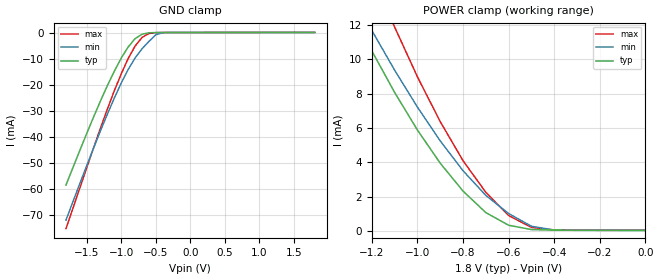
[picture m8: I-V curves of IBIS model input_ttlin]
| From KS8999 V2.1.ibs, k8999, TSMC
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|   Model input_ttlin
[Model]   input_ttlin
Model_type   Input
Polarity   Non-Inverting
Vinl =   0.8V
Vinh =   2.0V
C_comp   1.58e-12F   1.76e-12F   1.55e-12F
[Temperature Range]   25   125   0
[Voltage Range]   1.80V   1.62V   1.98V
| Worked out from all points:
|   GND clamp passes 1 mA (typ) near -0.72 V on its own axis
|   POWER clamp passes 1 mA (typ) near -0.69 V on its own axis
[POWER_clamp]
| voltage   I(typ)   I(min)   I(max)
-1.8V     28.46mA    29.17mA    37.41mA
-1.3V     13.11mA    14.15mA    18.38mA
-1.2V     10.49mA    11.69mA    15.03mA
-1.1V     8.076mA    9.373mA    11.88mA
-1V       5.885mA    7.221mA    8.986mA
-900mV    3.955mA    5.254mA    6.374mA
-800mV    2.329mA    3.516mA    4.101mA
-700mV    1.077mA    2.08mA     2.258mA
-600mV    341.5uA    1.024mA    907uA
-500mV    88.88uA    283.2uA    216.3uA
-400mV    54.59uA    63.12uA    67.23uA
0V        42.86uA    38.57uA    47.14uA
[GND_clamp]
| voltage   I(typ)   I(min)   I(max)
-1.8V     -58.67mA   -72.18mA   -75.45mA
-1.4V     -32.49mA   -44.43mA   -44.33mA
-1.2V     -20.4mA    -31.37mA   -29.43mA
-1.1V     -14.89mA   -25.22mA   -22.4mA
-1V       -9.837mA   -19.45mA   -15.91mA
-900mV    -5.602mA   -14.24mA   -10.06mA
-800mV    -2.378mA   -9.819mA   -5.24mA
-700mV    -666.9uA   -6.298mA   -1.929mA
-600mV    -112.3uA   -3.45mA    -380.3uA
-500mV    -22.06uA   -889.8uA   -47.83uA
-400mV    -10.26uA   -61.81uA   -11.76uA
1.8V      42.86uA    42.9uA     42.86uA
